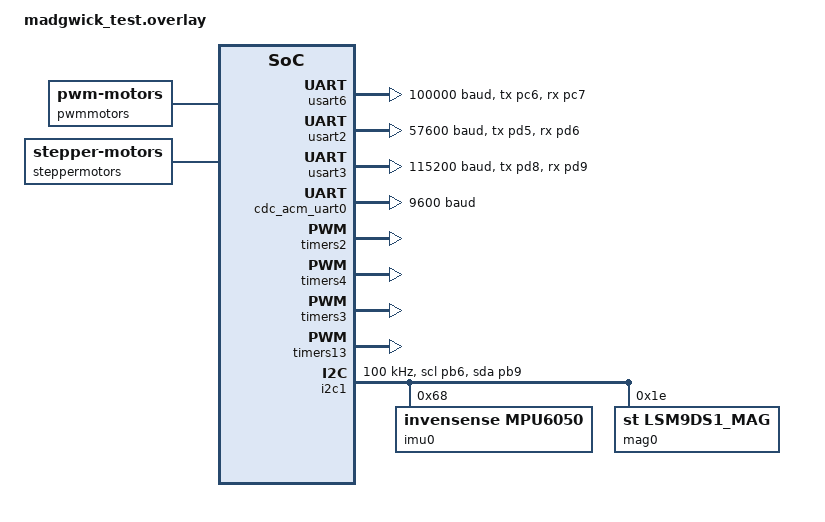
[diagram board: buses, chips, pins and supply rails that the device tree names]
/{
	pwmmotors {
		compatible = "pwm-motors";
		sabertooth1_1: pwm_1 {
			pwms  = <&pwm2 1 PWM_MSEC(20) (PWM_POLARITY_NORMAL)>;
			min-pulse = <PWM_USEC(1100)>;
			max-pulse = <PWM_USEC(1900)>;
			channel = <0>;
		};
		sabertooth1_2: pwm_2 {
			pwms  = <&pwm2 2 PWM_MSEC(20) (PWM_POLARITY_NORMAL)>;
			min-pulse = <PWM_USEC(1100)>;
			max-pulse = <PWM_USEC(1900)>;
			channel = <1>;
		};
		cytron1_1: pwm_3 {
			pwms  = <&pwm2 3 PWM_MSEC(20) (PWM_POLARITY_NORMAL)>;
			min-pulse = <PWM_USEC(1100)>;
			max-pulse = <PWM_USEC(1900)>;
			channel = <11>;
		};
		cytron1_2: pwm_4 {
			pwms  = <&pwm2 4 PWM_MSEC(20) (PWM_POLARITY_NORMAL)>;
			min-pulse = <PWM_USEC(1100)>;
			max-pulse = <PWM_USEC(1900)>;
			channel = <12>;
		};
		cytron2_1: pwm_5 {
			pwms  = <&pwm4 1 PWM_MSEC(20) (PWM_POLARITY_NORMAL)>;
			min-pulse = <PWM_USEC(1100)>;
			max-pulse = <PWM_USEC(1900)>;
			channel = <6>;
		};
		cytron2_2: pwm_6 {
			pwms  = <&pwm4 2 PWM_MSEC(20) (PWM_POLARITY_NORMAL)>;
			min-pulse = <PWM_USEC(1100)>;
			max-pulse = <PWM_USEC(1900)>;
			channel = <10>;
		};
		servo_1: pwm_7 {
			pwms  = <&pwm4 3 PWM_MSEC(20) (PWM_POLARITY_NORMAL)>;
			min-pulse = <PWM_USEC(500)>;
			max-pulse = <PWM_USEC(2500)>;
			channel = <8>;
		};
		servo_2: pwm_8 {
			pwms  = <&pwm3 1 PWM_MSEC(20) (PWM_POLARITY_NORMAL)>;
			min-pulse = <PWM_USEC(500)>;
			max-pulse = <PWM_USEC(2500)>;
			channel = <9>;
		};
		servo_3: pwm_9 {
			pwms  = <&pwm3 2 PWM_MSEC(20) (PWM_POLARITY_NORMAL)>;
			min-pulse = <PWM_USEC(500)>;
			max-pulse = <PWM_USEC(2500)>;
		};
		servo_4: pwm_10 {
			pwms  = <&pwm13 1 PWM_MSEC(20) (PWM_POLARITY_NORMAL)>;
			min-pulse = <PWM_USEC(500)>;
			max-pulse = <PWM_USEC(2500)>;
		};
	};

	steppermotors {
		compatible = "stepper-motors";
		dm5422_tt: dm5422_tt {
			label = "Turn Table";
			dir-gpios = <&gpioe 13 GPIO_ACTIVE_LOW>;
			step-gpios = <&gpiof 11 GPIO_ACTIVE_LOW>;
			channel = <7>;
		};
		yako: yako {
			label = "First Link";
			dir-gpios = <&gpiob 7 GPIO_ACTIVE_LOW>;
			step-gpios = <&gpioc 0 GPIO_ACTIVE_LOW>;
			channel = <3>;
		};
		rhino: rhino {
			label = "Second Link";
			dir-gpios = <&gpiog 14 GPIO_ACTIVE_HIGH>;
			step-gpios = <&gpiob 1 GPIO_ACTIVE_LOW>;
			channel = <2>;
		};
		dm5422_pr1: dm5422_pr1 {
			label = "Pitch Roll 1";
			dir-gpios = <&gpioa 8 GPIO_ACTIVE_LOW>;
			step-gpios = <&gpiog 12 GPIO_ACTIVE_LOW>;
			channel = <4>;
		};
		dm5422_pr2: dm5422_pr2 {
			label = "Pitch Roll 2";
			dir-gpios = <&gpiog 9 GPIO_ACTIVE_LOW>;
			step-gpios = <&gpiod 15 GPIO_ACTIVE_LOW>;
			channel = <5>;
		};
	};

	aliases {
			sbc-uart = &cdc_acm_uart0;
			telemetry-uart = &usart2;
			sbus-uart = &usart6;
     		/*	gps-uart = &gnss;*/
	};

	chosen {
		zephyr,console = &usart3;
		zephyr,shell-uart = &usart3;
	};
};

&usart6 {
	pinctrl-0 = <&usart6_tx_pc6 &usart6_rx_pc7>;
	pinctrl-names= "default";
	status = "okay";
	current-speed = <100000>;
};

&usart2 {
        pinctrl-0 = <&usart2_tx_pd5 &usart2_rx_pd6>;
        pinctrl-names= "default";
        status = "okay";
        current-speed = <57600>;
};

&usart3 {
    pinctrl-0 = <&usart3_tx_pd8 &usart3_rx_pd9>;
    pinctrl-names = "default";
    status = "okay";
    current-speed = <115200>;
};

&zephyr_udc0 {
	cdc_acm_uart0: cdc_acm_uart0 {
		compatible = "zephyr,cdc-acm-uart";
		status = "okay";
		current-speed = <9600>;
	};
};

&timers2 {
	status = "okay";
	st,prescaler = <5599>;
	pwm2: pwm {
		status = "okay";
		pinctrl-0 = <&tim2_ch1_pa0 &tim2_ch2_pa1 &tim2_ch3_pa2 &tim2_ch4_pa3>;
		pinctrl-names = "default";
	};
};

&timers4 {
	status = "okay";
	st,prescaler = <5599>;
	pwm4: pwm {
		status = "okay";
		pinctrl-0 = <&tim4_ch1_pd12 &tim4_ch2_pd13 &tim4_ch3_pd14>;
		pinctrl-names = "default";
	};
};

&timers3 {
	status = "okay";
	st,prescaler = <5599>;

	pwm3: pwm {
		status = "okay";
		pinctrl-0 = <&tim3_ch1_pb4 &tim3_ch2_pb5>;
		pinctrl-names = "default";
	};
};

&timers13 {
	status = "okay";
	st,prescaler = <5599>;

	pwm13: pwm {
		status = "okay";
		pinctrl-0 = <&tim13_ch1_pa6>;
		pinctrl-names = "default";
	};
};

&i2c1 {
	status = "okay";
	pinctrl-0 = <&i2c1_scl_pb6 &i2c1_sda_pb9>;
	pinctrl-names = "default";
	clock-frequency = <I2C_BITRATE_STANDARD>;

	/* IMU 0 — MPU6050, AD0 pin low */
	imu0: mpu6050@68 {
		compatible = "invensense,mpu6050";
		reg = <0x68>;
		status = "okay";
	};

	/* MAG 0 — LSM9DS1 magnetometer, SDO_M high -> 0x1E */
	mag0: lsm9ds1_mag@1e {
		compatible = "st,lsm9ds1_mag";
		reg = <0x1e>;
		status = "okay";
	};
};
